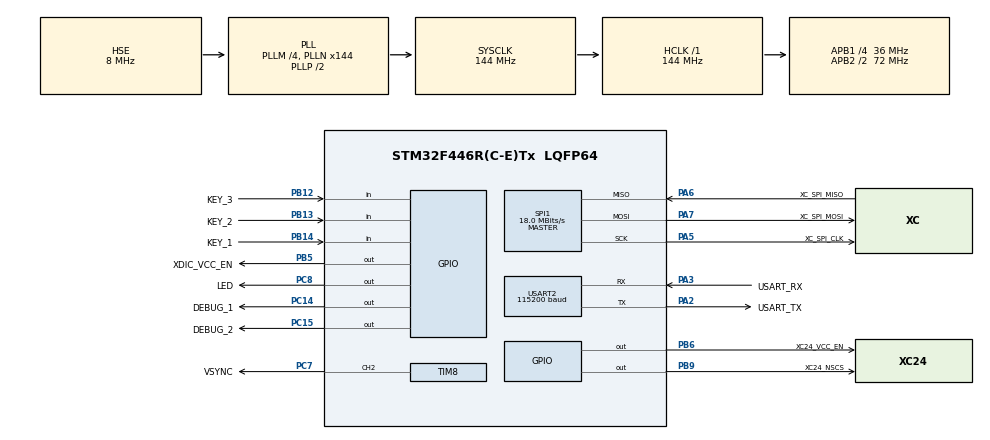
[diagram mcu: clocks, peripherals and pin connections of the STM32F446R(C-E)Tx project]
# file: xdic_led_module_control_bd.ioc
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Dma.Request0=USART2_TX
Dma.Request1=USART2_RX
Dma.USART2_RX.1.Direction=DMA_PERIPH_TO_MEMORY
Dma.USART2_RX.1.FIFOMode=DMA_FIFOMODE_DISABLE
Dma.USART2_RX.1.Instance=DMA1_Stream5
Dma.USART2_RX.1.MemDataAlignment=DMA_MDATAALIGN_BYTE
Dma.USART2_RX.1.MemInc=DMA_MINC_ENABLE
Dma.USART2_RX.1.Mode=DMA_NORMAL
Dma.USART2_RX.1.PeriphDataAlignment=DMA_PDATAALIGN_BYTE
Dma.USART2_RX.1.PeriphInc=DMA_PINC_DISABLE
Dma.USART2_RX.1.Priority=DMA_PRIORITY_LOW
Dma.USART2_TX.0.Direction=DMA_MEMORY_TO_PERIPH
Dma.USART2_TX.0.FIFOMode=DMA_FIFOMODE_DISABLE
Dma.USART2_TX.0.Instance=DMA1_Stream6
Dma.USART2_TX.0.MemDataAlignment=DMA_MDATAALIGN_BYTE
Dma.USART2_TX.0.MemInc=DMA_MINC_ENABLE
Dma.USART2_TX.0.Mode=DMA_NORMAL
Dma.USART2_TX.0.PeriphDataAlignment=DMA_PDATAALIGN_BYTE
Dma.USART2_TX.0.PeriphInc=DMA_PINC_DISABLE
Dma.USART2_TX.0.Priority=DMA_PRIORITY_LOW
Mcu.Family=STM32F4
Mcu.Name=STM32F446R(C-E)Tx
Mcu.Package=LQFP64
NVIC.DMA1_Stream5_IRQn=true\:0\:0\:false\:false\:true\:false\:true\:true
NVIC.DMA1_Stream6_IRQn=true\:0\:0\:false\:false\:true\:false\:true\:true
NVIC.PriorityGroup=NVIC_PRIORITYGROUP_4
NVIC.TIM8_UP_TIM13_IRQn=true\:0\:0\:false\:false\:true\:true\:true\:true
NVIC.USART2_IRQn=true\:1\:0\:true\:false\:true\:true\:true\:true
PA13.GPIO_Label=TMS
PA13.Mode=Serial_Wire
PA13.Signal=SYS_JTMS-SWDIO
PA14.GPIO_Label=TCK
PA14.Mode=Serial_Wire
PA14.Signal=SYS_JTCK-SWCLK
PA2.GPIO_Label=USART_TX
PA2.Mode=Asynchronous
PA2.Signal=USART2_TX
PA3.GPIO_Label=USART_RX
PA3.Mode=Asynchronous
PA3.Signal=USART2_RX
PA5.GPIO_Label=XC_SPI_CLK
PA5.Mode=Full_Duplex_Master
PA5.Signal=SPI1_SCK
PA6.GPIO_Label=XC_SPI_MISO
PA6.Mode=Full_Duplex_Master
PA6.Signal=SPI1_MISO
PA7.GPIO_Label=XC_SPI_MOSI
PA7.Mode=Full_Duplex_Master
PA7.Signal=SPI1_MOSI
PB12.GPIO_Label=KEY_3
PB12.Signal=GPIO_Input
PB13.GPIO_Label=KEY_2
PB13.Signal=GPIO_Input
PB14.GPIO_Label=KEY_1
PB14.Signal=GPIO_Input
PB5.GPIO_Label=XDIC_VCC_EN
PB5.GPIO_Speed=GPIO_SPEED_FREQ_VERY_HIGH
PB5.PinState=GPIO_PIN_SET
PB5.Signal=GPIO_Output
PB6.GPIO_Label=XC24_VCC_EN
PB6.Signal=GPIO_Output
PB9.GPIO_Label=XC24_NSCS
PB9.GPIO_Speed=GPIO_SPEED_FREQ_VERY_HIGH
PB9.Signal=GPIO_Output
PC14-OSC32_IN.GPIO_Label=DEBUG_1
PC14-OSC32_IN.Signal=GPIO_Output
PC15-OSC32_OUT.GPIO_Label=DEBUG_2
PC15-OSC32_OUT.Signal=GPIO_Output
PC7.GPIO_Label=VSYNC
PC7.Signal=S_TIM8_CH2
PC8.GPIO_Label=LED
PC8.PinState=GPIO_PIN_SET
PC8.Signal=GPIO_Output
PH0-OSC_IN.Mode=HSE-External-Oscillator
PH0-OSC_IN.Signal=RCC_OSC_IN
PH1-OSC_OUT.Mode=HSE-External-Oscillator
PH1-OSC_OUT.Signal=RCC_OSC_OUT
ProjectManager.HeapSize=0x200
ProjectManager.StackSize=0x800
ProjectManager.TargetToolchain=EWARM V8.32
RCC.48MHZClocksFreq_Value=84000000
RCC.AHBFreq_Value=144000000
RCC.APB1CLKDivider=RCC_HCLK_DIV4
RCC.APB1Freq_Value=36000000
RCC.APB1TimFreq_Value=72000000
RCC.APB2CLKDivider=RCC_HCLK_DIV2
RCC.APB2Freq_Value=72000000
RCC.APB2TimFreq_Value=144000000
RCC.CortexFreq_Value=144000000
RCC.FLatency-AdvancedSettings=FLASH_LATENCY_4
RCC.HCLKFreq_Value=144000000
RCC.HSE_VALUE=8000000
RCC.HSI_VALUE=16000000
RCC.PLLI2SM=8
RCC.PLLI2SN=400
RCC.PLLI2SR=5
RCC.PLLM=4
RCC.PLLN=144
RCC.PLLSourceVirtual=RCC_PLLSOURCE_HSE
RCC.RCC_MCO1Source=RCC_MCO1SOURCE_PLLCLK
RCC.RCC_MCO2Source=RCC_MCO2SOURCE_PLLI2SCLK
RCC.RCC_MCODiv2=RCC_MCODIV_5
RCC.SYSCLKFreq_VALUE=144000000
RCC.SYSCLKSource=RCC_SYSCLKSOURCE_PLLCLK
RCC.USBFreq_Value=144000000
RCC.VCOOutputFreq_Value=288000000
SH.S_TIM8_CH2.0=TIM8_CH2,PWM Generation2 CH2
SPI1.BaudRatePrescaler=SPI_BAUDRATEPRESCALER_4
SPI1.CLKPhase=SPI_PHASE_2EDGE
SPI1.CalculateBaudRate=18.0 MBits/s
SPI1.DataSize=SPI_DATASIZE_16BIT
SPI1.Direction=SPI_DIRECTION_2LINES
SPI1.Mode=SPI_MODE_MASTER
SPI1.VirtualType=VM_MASTER
TIM12.AutoReloadPreload=TIM_AUTORELOAD_PRELOAD_ENABLE
TIM12.ClockDivision=TIM_CLOCKDIVISION_DIV1
TIM12.Period=65535
TIM12.Prescaler=71
TIM8.AutomaticOutput=TIM_AUTOMATICOUTPUT_ENABLE
TIM8.Channel-PWM\ Generation2\ CH2=TIM_CHANNEL_2
TIM8.Period=39999
TIM8.Prescaler=29
TIM8.Pulse-PWM\ Generation2\ CH2=500
USART2.BaudRate=115200
USART2.VirtualMode=VM_ASYNC
VP_TIM12_VS_ClockSourceINT.Mode=Internal
VP_TIM8_VS_ClockSourceINT.Mode=Internal
board=NUCLEO-F446RE

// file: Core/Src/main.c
/* USER CODE BEGIN Header */
/**
  ******************************************************************************
  * @file           : main.c
  * @brief          : Main program body
  ******************************************************************************
  * @attention
  *
  * <h2><center>&copy; Copyright (c) 2021 STMicroelectronics.
  * All rights reserved.</center></h2>
  *
  * This software component is licensed by ST under Ultimate Liberty license
  * SLA0044, the "License"; You may not use this file except in compliance with
  * the License. You may obtain a copy of the License at:
  *                             www.st.com/SLA0044
  *
  ******************************************************************************
  */
#define __XDIC_MAIN_C__
#include <stdint.h>
/* USER CODE END Header */
#include "main.h"

/* USER CODE BEGIN Includes */
#include "config.h"
#include "xdic.h"
#include "xc24.h"
#include "vsync_task.h"
/* USER CODE END Includes */

/* USER CODE BEGIN PD */
#define PRINT_BUFF_SIZE     256
#define RX_BUFF_SIZE        256 // must be 2^n
#define RX_PACKET_SIZE      32  // must be 2^n

#define RX_TIMEOUT_MS       20

#define PACKET_SIZE_EXCEPT_DATA_FIELD   5   // SOP(1) + LEN(1) + CMD(1) + /* DATA(1) */ + CHK(1) + EOP(1)
#define PACKET_SIZE_SOP_TO_COMMAND      3   // SOP(1) + LEN(1) + CMD(1)

enum tag_PROTOCOL_LIST
{
    SOP                     = 0xA5, // 0xA5
    EOP                     = 0x5A, // 0x5A
    CMD_INIT                = 0x00, // 0x00
    CMD_QUIT                = 0xFF, // 0xFF
    CMD_STATUS              = 0xF0, // 0xF0
    CMD_CURRENT             = 0x01, // 0x01
    CMD_BAR_ON_SELECT       = 0x10, // 0x10
    CMD_BAR_OFF_SELECT      = 0x20, // 0x20
    CMD_BLK_ON_SELECT       = 0x40, // 0x40
    CMD_BLK_OFF_SELECT      = 0x80, // 0x80
    CMD_LOW_CURRENT_MODE    = 0x02, // 0x02
} protocol_list_t;

typedef enum tag_KEY_LIST
{
    KEY_1 = 0,
    KEY_2,
    KEY_3,
    KEY_MAX,
} key_list_t;

/* USER CODE END PD */

/* USER CODE BEGIN PV */
typedef struct tag_RX_PACKET
{
    uint8_t sop;
    uint8_t length;
    uint8_t command;
    uint8_t data[255];
    uint8_t checksum;
    uint8_t eop;
} rx_packet_t;

typedef struct tag_RING_BUFFER
{
    uint8_t head;
    uint8_t tail;
    char buffer[RX_BUFF_SIZE];
} ring_buffer_t;
static ring_buffer_t gt_ring_buffer;

typedef struct tag_RX_PACKET_BUFFER
{
    uint8_t idx;
    rx_packet_t packet_buffer[RX_PACKET_SIZE];
} rx_packet_buffer_t;
static rx_packet_buffer_t gt_rx_packet_buffer;

typedef void (*func_t)(void);

typedef struct tag_KEY_INFO
{
    uint32_t now_state;
    uint32_t prev_state;
    uint8_t press_cnt;
    uint8_t odd_even;
    func_t function[2];
} key_info_t;

//static LOG_LV_T gt_log_lv = LOG_PC;
static LOG_LV_T gt_log_lv = LOG_RS232;

static uint8_t gn_uart_rx_timeout;
static bool gb_uart_rx_timeout_enable;

GPIO_TypeDef* key_gpio_port[KEY_MAX] = { KEY_1_GPIO_Port, KEY_2_GPIO_Port, KEY_3_GPIO_Port };
const uint32_t key_gpio_pin[KEY_MAX] = { KEY_1_Pin,       KEY_2_Pin,       KEY_3_Pin       };
static key_info_t gt_key_info[KEY_MAX];
static uint8_t gn_key_task_tick;
/* USER CODE END PV */

void SystemClock_Config(void);
static void MX_GPIO_Init(void);
static void MX_DMA_Init(void);
static void MX_USART2_UART_Init(void);
static void MX_TIM12_Init(void);
static void MX_SPI1_Init(void);
static void MX_TIM8_Init(void);
/* USER CODE BEGIN PFP */
static void Uart_Task(void);
static void Key_Task(void);
static void Key_Init(void);
/* USER CODE END PFP */

/* USER CODE BEGIN 0 */

void us_delay(uint16_t us_delay)
{
    LL_TIM_EnableCounter(TIM12);
    while(LL_TIM_GetCounter(TIM12) < us_delay)
    {
    }
    LL_TIM_DisableCounter(TIM12);
    LL_TIM_SetCounter(TIM12, 0);
}

void sys_tick_handler(void)
{
    if (gn_xc_spi_timeout)
    {
        --gn_xc_spi_timeout;
    }
    if (gn_uart_rx_timeout)
    {
        --gn_uart_rx_timeout;
    }
    if (gn_key_task_tick)
    {
        --gn_key_task_tick;
    }
}

void print(LOG_LV_T log_lv, const char *fmt, ...)
{
    if (log_lv >= gt_log_lv)
    {
        int len = 0;
        char msg_buffer[PRINT_BUFF_SIZE] = {0, };

        if (log_lv > gt_log_lv)
        {
            char temp_buffer[PRINT_BUFF_SIZE] = {0, };
            snprintf(temp_buffer, PRINT_BUFF_SIZE - 1, "%s%s%s", ANSI_FONT_RED, fmt, ANSI_FONT_NONE);
            fmt = temp_buffer;
        }

        va_list ap;
        va_start(ap, fmt);
        len = vsnprintf(msg_buffer, (PRINT_BUFF_SIZE - 1), fmt, ap);
        va_end(ap);

        for (int i = 0 ; i < len ; ++i)
        {
            /* Loop until the end of transmission */
            while (RESET == LL_USART_IsActiveFlag_TXE(USART2));
            /* Echo received character on TX */
            LL_USART_TransmitData8(USART2, (uint8_t)msg_buffer[i]);
        }
    }
}

void Comm_Init(void)
{
    print(LOG_PC, "\n\r--------------------------------------");
    print(LOG_PC, "\n\r   [GT LED Module Control BD]");
    print(LOG_PC, "\n\r--------------------------------------");
    print(LOG_PC, "\n\r - Author: xxx@glbltech.com");
    print(LOG_PC, "\n\r - Build : %s", __DATE__);
    print(LOG_PC, "\n\r--------------------------------------\r\n");
}

__STATIC_INLINE void UART_PutChar(uint8_t data)
{
    /* Echo received character on TX */
    LL_USART_TransmitData8(USART2, (uint8_t)data);
    /* Loop until the end of transmission */
    while (RESET == LL_USART_IsActiveFlag_TXE(USART2));
}

uint8_t comm_rx_calc_checksum(uint8_t* p_data, uint8_t length)
{
    uint8_t checksum = 0;
    for (uint8_t i = 0 ; i < length ; ++i)
    {
        checksum += *(p_data + i);
    }
    return checksum;
}

void comm_rx_push(uint8_t rx)
{
    gt_ring_buffer.buffer[gt_ring_buffer.head++] = rx;
    gt_ring_buffer.head &= (RX_BUFF_SIZE - 1);
}

uint8_t comm_rx_pop(void)
{
    uint8_t ret = gt_ring_buffer.buffer[gt_ring_buffer.tail++];
    gt_ring_buffer.tail &= (RX_BUFF_SIZE - 1);
    return ret;
}

static uint8_t comm_get_rx_available(void)
{
    if (gt_ring_buffer.head > gt_ring_buffer.tail)
    {
        return gt_ring_buffer.head - gt_ring_buffer.tail;
    }
    else
    {
        return (gt_ring_buffer.head + RX_BUFF_SIZE) - gt_ring_buffer.tail;
    }
}

static void comm_tx_response(uint8_t status)
{
    uint8_t response_ok[6] = { SOP, 0x01, CMD_STATUS, 0xA5, 0x00, 0x5A };
    uint8_t response_ng[6] = { SOP, 0x01, CMD_STATUS, 0x5A, 0x00, 0x5A };

    response_ok[4] = response_ok[0] + response_ok[1] + response_ok[2] + response_ok[3];
    response_ng[4] = response_ng[0] + response_ng[1] + response_ng[2] + response_ng[3];

    if (status)
    {
        for (int i = 0 ; i < 6 ; ++i)
        {
            UART_PutChar(response_ok[i]);
        }
    }
    else
    {
        for (int i = 0 ; i < 6 ; ++i)
        {
            UART_PutChar(response_ng[i]);
        }
    }
}

static uint8_t comm_get_rx_packet(rx_packet_t* p_packet)
{
    uint8_t ret = 0;
    rx_packet_t temp_packet = {0, };

    if (gt_ring_buffer.head != gt_ring_buffer.tail)
    {
        if (gt_ring_buffer.buffer[gt_ring_buffer.tail] != SOP)
        {
            ++gt_ring_buffer.tail;
            gt_ring_buffer.tail &= (RX_BUFF_SIZE - 1);
            ret = 0;
        }
        else // If SOP
        {
            if (!gb_uart_rx_timeout_enable)
            {
                gn_uart_rx_timeout = RX_TIMEOUT_MS;
                gb_uart_rx_timeout_enable = true;
            }
            uint8_t length = gt_ring_buffer.buffer[(gt_ring_buffer.tail + 1) & (RX_BUFF_SIZE - 1)];
            if (length < 1) length = 1; // Minimum data field length

            if (comm_get_rx_available() >= (PACKET_SIZE_EXCEPT_DATA_FIELD + length))
            {
                temp_packet.sop = comm_rx_pop();
                temp_packet.length = comm_rx_pop();
                temp_packet.command = comm_rx_pop();
                for (uint8_t i = 0 ; i < length ; ++i)
                {
                    temp_packet.data[i] = comm_rx_pop();
                }
                temp_packet.checksum = comm_rx_pop();
                temp_packet.eop = comm_rx_pop();

                uint8_t checksum = comm_rx_calc_checksum(&temp_packet.sop, (PACKET_SIZE_SOP_TO_COMMAND + temp_packet.length));
                if ((checksum == temp_packet.checksum) && (temp_packet.eop == EOP))
                {
                    p_packet->sop = temp_packet.sop;
                    p_packet->length = temp_packet.length;
                    p_packet->command = temp_packet.command;
                    for (uint8_t i = 0 ; i < length ; ++i)
                    {
                        p_packet->data[i] = temp_packet.data[i];
                    }
                    p_packet->checksum = temp_packet.checksum;
                    p_packet->eop = temp_packet.eop;

                    print(LOG_PC, "\r\n\r\n%u\r\n\r\n", length);

                    comm_tx_response(1);
                    print(LOG_PC, "Recv Packet: {[0x%02X, 0x%02X, 0x%02X, \
                        0x%02X, 0x%02X, 0x%02X, 0x%02X, 0x%02X, \
                        0x%02X, 0x%02X]}\r\n",
                        temp_packet.sop, temp_packet.length, temp_packet.command, \
                        temp_packet.data[0], temp_packet.data[1], temp_packet.data[2], temp_packet.data[3], temp_packet.data[4], \
                        temp_packet.checksum, temp_packet.eop);
                    ret = 1;
                }
                else
                {
                    comm_tx_response(0);
                    print(LOG_PC, "Recv Packet: {[0x%02X, 0x%02X, 0x%02X, \
                        0x%02X, 0x%02X, 0x%02X, 0x%02X, 0x%02X, \
                        0x%02X, 0x%02X]}\r\n",
                        temp_packet.sop, temp_packet.length, temp_packet.command, \
                        temp_packet.data[0], temp_packet.data[1], temp_packet.data[2], temp_packet.data[3], temp_packet.data[4], \
                        temp_packet.checksum, temp_packet.eop);
                }
                gb_uart_rx_timeout_enable = false;
            }

            if (0 == gn_uart_rx_timeout) // Timeout
            {
                comm_tx_response(0);
                gt_ring_buffer.tail = gt_ring_buffer.head;
                gb_uart_rx_timeout_enable = false;
                ret = 0;
            }
        }
    }

    return ret;
}

static void Uart_Task(void)
{
    rx_packet_t* p_packet = gt_rx_packet_buffer.packet_buffer + gt_rx_packet_buffer.idx;

    if (comm_get_rx_packet(p_packet))
    {
        switch(p_packet->command)
        {
            case CMD_INIT:
                LED_System_Init();
                print(LOG_PC, "CMD_INIT\r\n");
                break;
            case CMD_QUIT:
                LED_System_DeInit();
                print(LOG_PC, "CMD_QUIT\r\n");
                break;
            case CMD_STATUS:
                print(LOG_PC, "CMD_STATUS\r\n");
                break;
            case CMD_CURRENT:
                LED_Current_Select((float)(p_packet->data[0]));
                print(LOG_PC, "CMD_CURRENT: %d\r\n", p_packet->data[0]);
                break;
            case CMD_BAR_ON_SELECT:
                for (uint8_t i = 0 ; i < p_packet->length ; ++i)
                {
                    LED_BAR_On_Select(p_packet->data[i]);
                }
                print(LOG_PC, "CMD_BAR_ON_SELECT: %u\r\n", p_packet->data[0]);
                break;
            case CMD_BAR_OFF_SELECT:
                for (uint8_t i = 0 ; i < p_packet->length ; ++i)
                {
                    LED_BAR_Off_Select(p_packet->data[i]);
                }
                print(LOG_PC, "CMD_BAR_OFF_SELECT: %u\r\n", p_packet->data[0]);
                break;
            case CMD_BLK_ON_SELECT:
                for (uint8_t i = 0 ; i < p_packet->length ; ++i)
                {
                    LED_BLK_On_Select(p_packet->data[i]);
                }
                print(LOG_PC, "CMD_BLK_ON_SELECT: %u\r\n", p_packet->data[0]);
                break;
            case CMD_BLK_OFF_SELECT:
                for (uint8_t i = 0 ; i < p_packet->length ; ++i)
                {
                    LED_BLK_Off_Select(p_packet->data[i]);
                }
                print(LOG_PC, "CMD_BLK_OFF_SELECT: %u\r\n", p_packet->data[0]);
                break;
            case CMD_LOW_CURRENT_MODE:
                LED_Low_Current_Mode(p_packet->data[0]);
                print(LOG_PC, "CMD_LOW_CURRENT_MODE: %u\r\n", p_packet->data[0]);
                break;
        }

        ++gt_rx_packet_buffer.idx;
        gt_rx_packet_buffer.idx &= (RX_PACKET_SIZE - 1);
    }
}

static void Key_Init(void)
{
    for (key_list_t key_list = KEY_1 ; key_list < KEY_MAX ; ++key_list)
    {
        gt_key_info[key_list].now_state = LL_GPIO_IsInputPinSet(key_gpio_port[key_list], key_gpio_pin[key_list]);
        gt_key_info[key_list].prev_state = gt_key_info[key_list].now_state;
        gt_key_info[key_list].press_cnt = 0;
        gt_key_info[key_list].odd_even = 0;
    }

    gt_key_info[KEY_1].function[0] = LED_System_Manual_Init;
    gt_key_info[KEY_1].function[1] = LED_System_DeInit;

    gt_key_info[KEY_2].function[0] = XC24_Test_Init;
    gt_key_info[KEY_2].function[1] = LED_System_DeInit;

    gt_key_info[KEY_3].function[0] = LED_Current_Increase;
    gt_key_info[KEY_3].function[1] = LED_Current_Increase;
}

static void Key_Task(void)
{
    if (gn_key_task_tick == 0)
    {
        for (key_list_t key_list = KEY_1 ; key_list < KEY_MAX ; ++key_list)
        {
            gt_key_info[key_list].now_state = LL_GPIO_IsInputPinSet(key_gpio_port[key_list], key_gpio_pin[key_list]);

            if (gt_key_info[key_list].now_state != gt_key_info[key_list].prev_state)
            {
                if (gt_key_info[key_list].now_state == 0)
                {
                    print(LOG_PC, "KEY_%u Pressed !!\r\n", key_list + 1);
                }
                else
                {
                    print(LOG_PC, "KEY_%u Released !!\r\n", key_list + 1);
                    if (gt_key_info[key_list].press_cnt >= 10) // 100ms at least
                    {
                        print(LOG_PC, "KEY_%u Action !!\r\n", key_list + 1);
                        if (gt_key_info[key_list].function[gt_key_info[key_list].odd_even] != NULL)
                        {
                            gt_key_info[key_list].function[gt_key_info[key_list].odd_even]();
                        }
                        gt_key_info[key_list].odd_even ^= 1;
                    }
                    gt_key_info[key_list].press_cnt = 0;
                }
                gt_key_info[key_list].prev_state = gt_key_info[key_list].now_state;
            }
            else
            {
                if (gt_key_info[key_list].now_state == 0)
                {
                    ++gt_key_info[key_list].press_cnt;
                }
                else
                {
                    // Do nothing
                }
            }
        }
        gn_key_task_tick = 10; // 10ms
    }
}
/* USER CODE END 0 */

int main(void)
{

  /* MCU Configuration--------------------------------------------------------*/

  /* Reset of all peripherals, Initializes the Flash interface and the Systick. */
  HAL_Init();

  /* Configure the system clock */
  SystemClock_Config();

  /* Initialize all configured peripherals */
  MX_GPIO_Init();
  MX_DMA_Init();
  MX_USART2_UART_Init();
  MX_TIM12_Init();
  MX_SPI1_Init();
  MX_TIM8_Init();
  /* USER CODE BEGIN 2 */

    Key_Init();
    Comm_Init();
    for (uint8_t i = 0 ; i < 3 ; ++i)
    {
        LED_LO();
        LL_mDelay(250);
        LED_HI();
        LL_mDelay(250);
    }
    LED_LO();

  /* USER CODE END 2 */

  /* Infinite loop */
  while (1)
  {

    /* USER CODE BEGIN 3 */
    Uart_Task();
    Key_Task();
    XDIC_Vsync_Task();
  }
  /* USER CODE END 3 */
}

void SystemClock_Config(void)
{
  RCC_OscInitTypeDef RCC_OscInitStruct = {0};
  RCC_ClkInitTypeDef RCC_ClkInitStruct = {0};

  /** Configure the main internal regulator output voltage
  */
  __HAL_RCC_PWR_CLK_ENABLE();
  __HAL_PWR_VOLTAGESCALING_CONFIG(PWR_REGULATOR_VOLTAGE_SCALE1);

  /** Initializes the RCC Oscillators according to the specified parameters
  * in the RCC_OscInitTypeDef structure.
  */
  RCC_OscInitStruct.OscillatorType = RCC_OSCILLATORTYPE_HSE;
  RCC_OscInitStruct.HSEState = RCC_HSE_ON;
  RCC_OscInitStruct.PLL.PLLState = RCC_PLL_ON;
  RCC_OscInitStruct.PLL.PLLSource = RCC_PLLSOURCE_HSE;
  RCC_OscInitStruct.PLL.PLLM = 4;
  RCC_OscInitStruct.PLL.PLLN = 144;
  RCC_OscInitStruct.PLL.PLLP = RCC_PLLP_DIV2;
  RCC_OscInitStruct.PLL.PLLQ = 2;
  RCC_OscInitStruct.PLL.PLLR = 2;
  if (HAL_RCC_OscConfig(&RCC_OscInitStruct) != HAL_OK)
  {
    Error_Handler();
  }

  /** Initializes the CPU, AHB and APB buses clocks
  */
  RCC_ClkInitStruct.ClockType = RCC_CLOCKTYPE_HCLK|RCC_CLOCKTYPE_SYSCLK
                              |RCC_CLOCKTYPE_PCLK1|RCC_CLOCKTYPE_PCLK2;
  RCC_ClkInitStruct.SYSCLKSource = RCC_SYSCLKSOURCE_PLLCLK;
  RCC_ClkInitStruct.AHBCLKDivider = RCC_SYSCLK_DIV1;
  RCC_ClkInitStruct.APB1CLKDivider = RCC_HCLK_DIV4;
  RCC_ClkInitStruct.APB2CLKDivider = RCC_HCLK_DIV2;

  if (HAL_RCC_ClockConfig(&RCC_ClkInitStruct, FLASH_LATENCY_4) != HAL_OK)
  {
    Error_Handler();
  }
}

static void MX_SPI1_Init(void)
{

  LL_SPI_InitTypeDef SPI_InitStruct = {0};

  LL_GPIO_InitTypeDef GPIO_InitStruct = {0};

  /* Peripheral clock enable */
  LL_APB2_GRP1_EnableClock(LL_APB2_GRP1_PERIPH_SPI1);

  LL_AHB1_GRP1_EnableClock(LL_AHB1_GRP1_PERIPH_GPIOA);
  /**SPI1 GPIO Configuration
  PA5   ------> SPI1_SCK
  PA6   ------> SPI1_MISO
  PA7   ------> SPI1_MOSI
  */
  GPIO_InitStruct.Pin = XC_SPI_CLK_Pin|XC_SPI_MISO_Pin|XC_SPI_MOSI_Pin;
  GPIO_InitStruct.Mode = LL_GPIO_MODE_ALTERNATE;
  GPIO_InitStruct.Speed = LL_GPIO_SPEED_FREQ_VERY_HIGH;
  GPIO_InitStruct.OutputType = LL_GPIO_OUTPUT_PUSHPULL;
  GPIO_InitStruct.Pull = LL_GPIO_PULL_NO;
  GPIO_InitStruct.Alternate = LL_GPIO_AF_5;
  LL_GPIO_Init(GPIOA, &GPIO_InitStruct);

  /* SPI1 parameter configuration*/
  SPI_InitStruct.TransferDirection = LL_SPI_FULL_DUPLEX;
  SPI_InitStruct.Mode = LL_SPI_MODE_MASTER;
  SPI_InitStruct.DataWidth = LL_SPI_DATAWIDTH_16BIT;
  SPI_InitStruct.ClockPolarity = LL_SPI_POLARITY_LOW;
  SPI_InitStruct.ClockPhase = LL_SPI_PHASE_2EDGE;
  SPI_InitStruct.NSS = LL_SPI_NSS_SOFT;
  SPI_InitStruct.BaudRate = LL_SPI_BAUDRATEPRESCALER_DIV4;
  SPI_InitStruct.BitOrder = LL_SPI_MSB_FIRST;
  SPI_InitStruct.CRCCalculation = LL_SPI_CRCCALCULATION_DISABLE;
  SPI_InitStruct.CRCPoly = 10;
  LL_SPI_Init(SPI1, &SPI_InitStruct);
  LL_SPI_SetStandard(SPI1, LL_SPI_PROTOCOL_MOTOROLA);
  /* USER CODE BEGIN SPI1_Init 2 */

    //LL_SPI_Enable(SPI1);

  /* USER CODE END SPI1_Init 2 */

}

static void MX_TIM8_Init(void)
{

  LL_TIM_InitTypeDef TIM_InitStruct = {0};
  LL_TIM_OC_InitTypeDef TIM_OC_InitStruct = {0};
  LL_TIM_BDTR_InitTypeDef TIM_BDTRInitStruct = {0};

  LL_GPIO_InitTypeDef GPIO_InitStruct = {0};

  /* Peripheral clock enable */
  LL_APB2_GRP1_EnableClock(LL_APB2_GRP1_PERIPH_TIM8);

  /* TIM8 interrupt Init */
  NVIC_SetPriority(TIM8_UP_TIM13_IRQn, NVIC_EncodePriority(NVIC_GetPriorityGrouping(),0, 0));
  NVIC_EnableIRQ(TIM8_UP_TIM13_IRQn);

  TIM_InitStruct.Prescaler = 29;
  TIM_InitStruct.CounterMode = LL_TIM_COUNTERMODE_UP;
  TIM_InitStruct.Autoreload = 39999;
  TIM_InitStruct.ClockDivision = LL_TIM_CLOCKDIVISION_DIV1;
  TIM_InitStruct.RepetitionCounter = 0;
  LL_TIM_Init(TIM8, &TIM_InitStruct);
  LL_TIM_DisableARRPreload(TIM8);
  LL_TIM_SetClockSource(TIM8, LL_TIM_CLOCKSOURCE_INTERNAL);
  LL_TIM_OC_EnablePreload(TIM8, LL_TIM_CHANNEL_CH2);
  TIM_OC_InitStruct.OCMode = LL_TIM_OCMODE_PWM1;
  TIM_OC_InitStruct.OCState = LL_TIM_OCSTATE_DISABLE;
  TIM_OC_InitStruct.OCNState = LL_TIM_OCSTATE_DISABLE;
  TIM_OC_InitStruct.CompareValue = 500;
  TIM_OC_InitStruct.OCPolarity = LL_TIM_OCPOLARITY_HIGH;
  TIM_OC_InitStruct.OCNPolarity = LL_TIM_OCPOLARITY_HIGH;
  TIM_OC_InitStruct.OCIdleState = LL_TIM_OCIDLESTATE_LOW;
  TIM_OC_InitStruct.OCNIdleState = LL_TIM_OCIDLESTATE_LOW;
  LL_TIM_OC_Init(TIM8, LL_TIM_CHANNEL_CH2, &TIM_OC_InitStruct);
  LL_TIM_OC_DisableFast(TIM8, LL_TIM_CHANNEL_CH2);
  LL_TIM_SetTriggerOutput(TIM8, LL_TIM_TRGO_RESET);
  LL_TIM_DisableMasterSlaveMode(TIM8);
  TIM_BDTRInitStruct.OSSRState = LL_TIM_OSSR_DISABLE;
  TIM_BDTRInitStruct.OSSIState = LL_TIM_OSSI_DISABLE;
  TIM_BDTRInitStruct.LockLevel = LL_TIM_LOCKLEVEL_OFF;
  TIM_BDTRInitStruct.DeadTime = 0;
  TIM_BDTRInitStruct.BreakState = LL_TIM_BREAK_DISABLE;
  TIM_BDTRInitStruct.BreakPolarity = LL_TIM_BREAK_POLARITY_HIGH;
  TIM_BDTRInitStruct.AutomaticOutput = LL_TIM_AUTOMATICOUTPUT_ENABLE;
  LL_TIM_BDTR_Init(TIM8, &TIM_BDTRInitStruct);
  LL_AHB1_GRP1_EnableClock(LL_AHB1_GRP1_PERIPH_GPIOC);
  /**TIM8 GPIO Configuration
  PC7   ------> TIM8_CH2
  */
  GPIO_InitStruct.Pin = VSYNC_Pin;
  GPIO_InitStruct.Mode = LL_GPIO_MODE_ALTERNATE;
  GPIO_InitStruct.Speed = LL_GPIO_SPEED_FREQ_LOW;
  GPIO_InitStruct.OutputType = LL_GPIO_OUTPUT_PUSHPULL;
  GPIO_InitStruct.Pull = LL_GPIO_PULL_NO;
  GPIO_InitStruct.Alternate = LL_GPIO_AF_3;
  LL_GPIO_Init(VSYNC_GPIO_Port, &GPIO_InitStruct);

}

static void MX_TIM12_Init(void)
{

  LL_TIM_InitTypeDef TIM_InitStruct = {0};

  /* Peripheral clock enable */
  LL_APB1_GRP1_EnableClock(LL_APB1_GRP1_PERIPH_TIM12);

  TIM_InitStruct.Prescaler = 71;
  TIM_InitStruct.CounterMode = LL_TIM_COUNTERMODE_UP;
  TIM_InitStruct.Autoreload = 65535;
  TIM_InitStruct.ClockDivision = LL_TIM_CLOCKDIVISION_DIV1;
  LL_TIM_Init(TIM12, &TIM_InitStruct);
  LL_TIM_EnableARRPreload(TIM12);
  LL_TIM_SetClockSource(TIM12, LL_TIM_CLOCKSOURCE_INTERNAL);

}

static void MX_USART2_UART_Init(void)
{

  LL_USART_InitTypeDef USART_InitStruct = {0};

  LL_GPIO_InitTypeDef GPIO_InitStruct = {0};

  /* Peripheral clock enable */
  LL_APB1_GRP1_EnableClock(LL_APB1_GRP1_PERIPH_USART2);

  LL_AHB1_GRP1_EnableClock(LL_AHB1_GRP1_PERIPH_GPIOA);
  /**USART2 GPIO Configuration
  PA2   ------> USART2_TX
  PA3   ------> USART2_RX
  */
  GPIO_InitStruct.Pin = USART_TX_Pin|USART_RX_Pin;
  GPIO_InitStruct.Mode = LL_GPIO_MODE_ALTERNATE;
  GPIO_InitStruct.Speed = LL_GPIO_SPEED_FREQ_VERY_HIGH;
  GPIO_InitStruct.OutputType = LL_GPIO_OUTPUT_PUSHPULL;
  GPIO_InitStruct.Pull = LL_GPIO_PULL_NO;
  GPIO_InitStruct.Alternate = LL_GPIO_AF_7;
  LL_GPIO_Init(GPIOA, &GPIO_InitStruct);

  /* USART2 DMA Init */

  /* USART2_TX Init */
  LL_DMA_SetChannelSelection(DMA1, LL_DMA_STREAM_6, LL_DMA_CHANNEL_4);

  LL_DMA_SetDataTransferDirection(DMA1, LL_DMA_STREAM_6, LL_DMA_DIRECTION_MEMORY_TO_PERIPH);

  LL_DMA_SetStreamPriorityLevel(DMA1, LL_DMA_STREAM_6, LL_DMA_PRIORITY_LOW);

  LL_DMA_SetMode(DMA1, LL_DMA_STREAM_6, LL_DMA_MODE_NORMAL);

  LL_DMA_SetPeriphIncMode(DMA1, LL_DMA_STREAM_6, LL_DMA_PERIPH_NOINCREMENT);

  LL_DMA_SetMemoryIncMode(DMA1, LL_DMA_STREAM_6, LL_DMA_MEMORY_INCREMENT);

  LL_DMA_SetPeriphSize(DMA1, LL_DMA_STREAM_6, LL_DMA_PDATAALIGN_BYTE);

  LL_DMA_SetMemorySize(DMA1, LL_DMA_STREAM_6, LL_DMA_MDATAALIGN_BYTE);

  LL_DMA_DisableFifoMode(DMA1, LL_DMA_STREAM_6);

  /* USART2_RX Init */
  LL_DMA_SetChannelSelection(DMA1, LL_DMA_STREAM_5, LL_DMA_CHANNEL_4);

  LL_DMA_SetDataTransferDirection(DMA1, LL_DMA_STREAM_5, LL_DMA_DIRECTION_PERIPH_TO_MEMORY);

  LL_DMA_SetStreamPriorityLevel(DMA1, LL_DMA_STREAM_5, LL_DMA_PRIORITY_LOW);

  LL_DMA_SetMode(DMA1, LL_DMA_STREAM_5, LL_DMA_MODE_NORMAL);

  LL_DMA_SetPeriphIncMode(DMA1, LL_DMA_STREAM_5, LL_DMA_PERIPH_NOINCREMENT);

  LL_DMA_SetMemoryIncMode(DMA1, LL_DMA_STREAM_5, LL_DMA_MEMORY_INCREMENT);

  LL_DMA_SetPeriphSize(DMA1, LL_DMA_STREAM_5, LL_DMA_PDATAALIGN_BYTE);

  LL_DMA_SetMemorySize(DMA1, LL_DMA_STREAM_5, LL_DMA_MDATAALIGN_BYTE);

  LL_DMA_DisableFifoMode(DMA1, LL_DMA_STREAM_5);

  /* USART2 interrupt Init */
  NVIC_SetPriority(USART2_IRQn, NVIC_EncodePriority(NVIC_GetPriorityGrouping(),1, 0));
  NVIC_EnableIRQ(USART2_IRQn);

  USART_InitStruct.BaudRate = 115200;
  USART_InitStruct.DataWidth = LL_USART_DATAWIDTH_8B;
  USART_InitStruct.StopBits = LL_USART_STOPBITS_1;
  USART_InitStruct.Parity = LL_USART_PARITY_NONE;
  USART_InitStruct.TransferDirection = LL_USART_DIRECTION_TX_RX;
  USART_InitStruct.HardwareFlowControl = LL_USART_HWCONTROL_NONE;
  USART_InitStruct.OverSampling = LL_USART_OVERSAMPLING_16;
  LL_USART_Init(USART2, &USART_InitStruct);
  LL_USART_ConfigAsyncMode(USART2);
  LL_USART_Enable(USART2);
  /* USER CODE BEGIN USART2_Init 2 */

    /* USART RX */
    LL_USART_EnableIT_RXNE(USART2);
    LL_USART_EnableIT_ERROR(USART2);

  /* USER CODE END USART2_Init 2 */

}

static void MX_DMA_Init(void)
{

  /* Init with LL driver */
  /* DMA controller clock enable */
  LL_AHB1_GRP1_EnableClock(LL_AHB1_GRP1_PERIPH_DMA1);

  /* DMA interrupt init */
  /* DMA1_Stream5_IRQn interrupt configuration */
  NVIC_SetPriority(DMA1_Stream5_IRQn, NVIC_EncodePriority(NVIC_GetPriorityGrouping(),0, 0));
  NVIC_EnableIRQ(DMA1_Stream5_IRQn);
  /* DMA1_Stream6_IRQn interrupt configuration */
  NVIC_SetPriority(DMA1_Stream6_IRQn, NVIC_EncodePriority(NVIC_GetPriorityGrouping(),0, 0));
  NVIC_EnableIRQ(DMA1_Stream6_IRQn);

}

static void MX_GPIO_Init(void)
{
  LL_GPIO_InitTypeDef GPIO_InitStruct = {0};

  /* GPIO Ports Clock Enable */
  LL_AHB1_GRP1_EnableClock(LL_AHB1_GRP1_PERIPH_GPIOC);
  LL_AHB1_GRP1_EnableClock(LL_AHB1_GRP1_PERIPH_GPIOH);
  LL_AHB1_GRP1_EnableClock(LL_AHB1_GRP1_PERIPH_GPIOA);
  LL_AHB1_GRP1_EnableClock(LL_AHB1_GRP1_PERIPH_GPIOB);
  LL_AHB1_GRP1_EnableClock(LL_AHB1_GRP1_PERIPH_GPIOD);

  /**/
  LL_GPIO_ResetOutputPin(GPIOC, DEBUG_1_Pin|DEBUG_2_Pin);

  /**/
  LL_GPIO_ResetOutputPin(GPIOB, XC24_VCC_EN_Pin|XC24_NSCS_Pin);

  /**/
  LL_GPIO_SetOutputPin(LED_GPIO_Port, LED_Pin);

  /**/
  LL_GPIO_SetOutputPin(XDIC_VCC_EN_GPIO_Port, XDIC_VCC_EN_Pin);

  /**/
  GPIO_InitStruct.Pin = LL_GPIO_PIN_13|LL_GPIO_PIN_0|LL_GPIO_PIN_1|LL_GPIO_PIN_2
                          |LL_GPIO_PIN_3|LL_GPIO_PIN_4|LL_GPIO_PIN_5|LL_GPIO_PIN_6
                          |LL_GPIO_PIN_9|LL_GPIO_PIN_10|LL_GPIO_PIN_11|LL_GPIO_PIN_12;
  GPIO_InitStruct.Mode = LL_GPIO_MODE_ANALOG;
  GPIO_InitStruct.Pull = LL_GPIO_PULL_NO;
  LL_GPIO_Init(GPIOC, &GPIO_InitStruct);

  /**/
  GPIO_InitStruct.Pin = DEBUG_1_Pin|DEBUG_2_Pin|LED_Pin;
  GPIO_InitStruct.Mode = LL_GPIO_MODE_OUTPUT;
  GPIO_InitStruct.Speed = LL_GPIO_SPEED_FREQ_LOW;
  GPIO_InitStruct.OutputType = LL_GPIO_OUTPUT_PUSHPULL;
  GPIO_InitStruct.Pull = LL_GPIO_PULL_NO;
  LL_GPIO_Init(GPIOC, &GPIO_InitStruct);

  /**/
  GPIO_InitStruct.Pin = LL_GPIO_PIN_0|LL_GPIO_PIN_1|LL_GPIO_PIN_4|LL_GPIO_PIN_8
                          |LL_GPIO_PIN_9|LL_GPIO_PIN_10|LL_GPIO_PIN_11|LL_GPIO_PIN_12
                          |LL_GPIO_PIN_15;
  GPIO_InitStruct.Mode = LL_GPIO_MODE_ANALOG;
  GPIO_InitStruct.Pull = LL_GPIO_PULL_NO;
  LL_GPIO_Init(GPIOA, &GPIO_InitStruct);

  /**/
  GPIO_InitStruct.Pin = LL_GPIO_PIN_0|LL_GPIO_PIN_1|LL_GPIO_PIN_2|LL_GPIO_PIN_10
                          |LL_GPIO_PIN_15|LL_GPIO_PIN_3|LL_GPIO_PIN_4|LL_GPIO_PIN_7
                          |LL_GPIO_PIN_8;
  GPIO_InitStruct.Mode = LL_GPIO_MODE_ANALOG;
  GPIO_InitStruct.Pull = LL_GPIO_PULL_NO;
  LL_GPIO_Init(GPIOB, &GPIO_InitStruct);

  /**/
  GPIO_InitStruct.Pin = KEY_3_Pin|KEY_2_Pin|KEY_1_Pin;
  GPIO_InitStruct.Mode = LL_GPIO_MODE_INPUT;
  GPIO_InitStruct.Pull = LL_GPIO_PULL_NO;
  LL_GPIO_Init(GPIOB, &GPIO_InitStruct);

  /**/
  GPIO_InitStruct.Pin = LL_GPIO_PIN_2;
  GPIO_InitStruct.Mode = LL_GPIO_MODE_ANALOG;
  GPIO_InitStruct.Pull = LL_GPIO_PULL_NO;
  LL_GPIO_Init(GPIOD, &GPIO_InitStruct);

  /**/
  GPIO_InitStruct.Pin = XDIC_VCC_EN_Pin|XC24_NSCS_Pin;
  GPIO_InitStruct.Mode = LL_GPIO_MODE_OUTPUT;
  GPIO_InitStruct.Speed = LL_GPIO_SPEED_FREQ_VERY_HIGH;
  GPIO_InitStruct.OutputType = LL_GPIO_OUTPUT_PUSHPULL;
  GPIO_InitStruct.Pull = LL_GPIO_PULL_NO;
  LL_GPIO_Init(GPIOB, &GPIO_InitStruct);

  /**/
  GPIO_InitStruct.Pin = XC24_VCC_EN_Pin;
  GPIO_InitStruct.Mode = LL_GPIO_MODE_OUTPUT;
  GPIO_InitStruct.Speed = LL_GPIO_SPEED_FREQ_LOW;
  GPIO_InitStruct.OutputType = LL_GPIO_OUTPUT_PUSHPULL;
  GPIO_InitStruct.Pull = LL_GPIO_PULL_NO;
  LL_GPIO_Init(XC24_VCC_EN_GPIO_Port, &GPIO_InitStruct);

  /* USER CODE BEGIN MX_GPIO_Init_2 */
    LL_GPIO_SetOutputPin(XC24_VCC_EN_GPIO_Port, XC24_VCC_EN_Pin);
  /* USER CODE END MX_GPIO_Init_2 */
}

void Error_Handler(void)
{
  __disable_irq();
  while (1)
  {
  }
}
